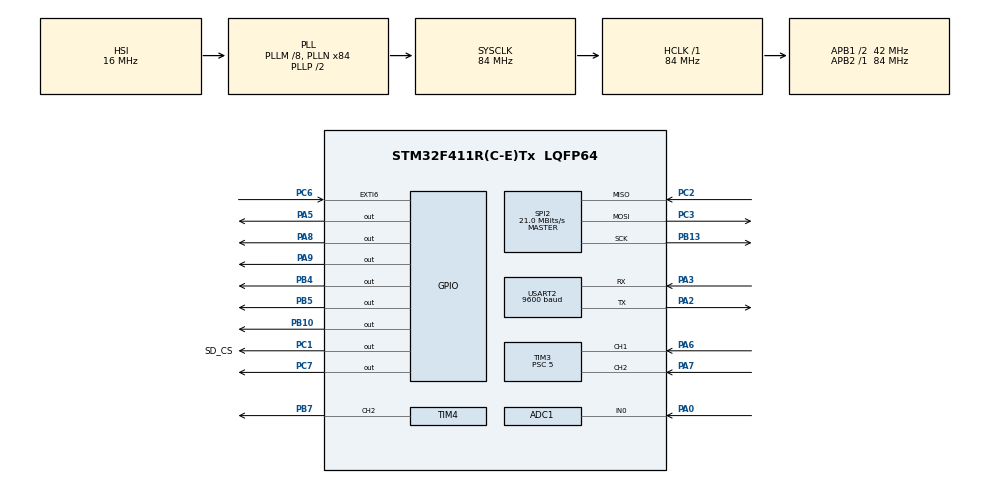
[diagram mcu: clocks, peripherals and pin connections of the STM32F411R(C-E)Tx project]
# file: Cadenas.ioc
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ADC1.Channel-1\#ChannelRegularConversion=ADC_CHANNEL_0
ADC1.ContinuousConvMode=DISABLE
ADC1.DMAContinuousRequests=ENABLE
ADC1.EOCSelection=ADC_EOC_SEQ_CONV
ADC1.ExternalTrigConv=ADC_EXTERNALTRIGCONV_T2_TRGO
ADC1.NbrOfConversion=1
ADC1.NbrOfConversionFlag=1
ADC1.Rank-1\#ChannelRegularConversion=1
ADC1.Resolution=ADC_RESOLUTION_10B
ADC1.SamplingTime-1\#ChannelRegularConversion=ADC_SAMPLETIME_28CYCLES
ADC1.ScanConvMode=ENABLE
ADC1.master=1
Dma.ADC1.0.Direction=DMA_PERIPH_TO_MEMORY
Dma.ADC1.0.FIFOMode=DMA_FIFOMODE_DISABLE
Dma.ADC1.0.Instance=DMA2_Stream0
Dma.ADC1.0.MemDataAlignment=DMA_MDATAALIGN_HALFWORD
Dma.ADC1.0.MemInc=DMA_MINC_ENABLE
Dma.ADC1.0.Mode=DMA_CIRCULAR
Dma.ADC1.0.PeriphDataAlignment=DMA_PDATAALIGN_HALFWORD
Dma.ADC1.0.PeriphInc=DMA_PINC_DISABLE
Dma.ADC1.0.Priority=DMA_PRIORITY_LOW
Dma.Request0=ADC1
Dma.Request1=USART2_RX
Dma.USART2_RX.1.Direction=DMA_PERIPH_TO_MEMORY
Dma.USART2_RX.1.FIFOMode=DMA_FIFOMODE_DISABLE
Dma.USART2_RX.1.Instance=DMA1_Stream5
Dma.USART2_RX.1.MemDataAlignment=DMA_MDATAALIGN_BYTE
Dma.USART2_RX.1.MemInc=DMA_MINC_ENABLE
Dma.USART2_RX.1.Mode=DMA_NORMAL
Dma.USART2_RX.1.PeriphDataAlignment=DMA_PDATAALIGN_BYTE
Dma.USART2_RX.1.PeriphInc=DMA_PINC_DISABLE
Dma.USART2_RX.1.Priority=DMA_PRIORITY_LOW
FATFS._MAX_LFN=15
FATFS._USE_LFN=1
Mcu.Family=STM32F4
Mcu.Name=STM32F411R(C-E)Tx
Mcu.Package=LQFP64
NVIC.DMA1_Stream5_IRQn=true\:0\:0\:false\:false\:true\:false\:true
NVIC.DMA2_Stream0_IRQn=true\:0\:0\:false\:false\:true\:false\:true
NVIC.EXTI9_5_IRQn=true\:0\:0\:false\:false\:true\:true\:true
NVIC.PriorityGroup=NVIC_PRIORITYGROUP_4
NVIC.USART2_IRQn=true\:0\:0\:false\:false\:true\:true\:true
PA0-WKUP.Signal=ADCx_IN0
PA13.Mode=Serial_Wire
PA13.Signal=SYS_JTMS-SWDIO
PA14.Mode=Serial_Wire
PA14.Signal=SYS_JTCK-SWCLK
PA2.Mode=Asynchronous
PA2.Signal=USART2_TX
PA3.Mode=Asynchronous
PA3.Signal=USART2_RX
PA5.Signal=GPIO_Output
PA6.Signal=S_TIM3_CH1
PA7.Signal=S_TIM3_CH2
PA8.Signal=GPIO_Output
PA9.Signal=GPIO_Output
PB10.Signal=GPIO_Output
PB13.Mode=Full_Duplex_Master
PB13.Signal=SPI2_SCK
PB4.Signal=GPIO_Output
PB5.Signal=GPIO_Output
PB7.Signal=S_TIM4_CH2
PC1.GPIO_Label=SD_CS
PC1.Signal=GPIO_Output
PC14-OSC32_IN.Mode=LSE-External-Oscillator
PC14-OSC32_IN.Signal=RCC_OSC32_IN
PC15-OSC32_OUT.Mode=LSE-External-Oscillator
PC15-OSC32_OUT.Signal=RCC_OSC32_OUT
PC2.Mode=Full_Duplex_Master
PC2.Signal=SPI2_MISO
PC3.Mode=Full_Duplex_Master
PC3.Signal=SPI2_MOSI
PC6.Signal=GPXTI6
PC7.Signal=GPIO_Output
PH0\ -\ OSC_IN.Mode=HSE-External-Oscillator
PH0\ -\ OSC_IN.Signal=RCC_OSC_IN
PH1\ -\ OSC_OUT.Mode=HSE-External-Oscillator
PH1\ -\ OSC_OUT.Signal=RCC_OSC_OUT
ProjectManager.HeapSize=0x200
ProjectManager.StackSize=0x400
ProjectManager.TargetToolchain=STM32CubeIDE
RCC.48MHZClocksFreq_Value=42000000
RCC.AHBFreq_Value=84000000
RCC.APB1CLKDivider=RCC_HCLK_DIV2
RCC.APB1Freq_Value=42000000
RCC.APB1TimFreq_Value=84000000
RCC.APB2Freq_Value=84000000
RCC.APB2TimFreq_Value=84000000
RCC.CortexFreq_Value=84000000
RCC.HCLKFreq_Value=84000000
RCC.HSE_VALUE=25000000
RCC.HSI_VALUE=16000000
RCC.PLLM=8
RCC.PLLN=84
RCC.SYSCLKFreq_VALUE=84000000
RCC.SYSCLKSource=RCC_SYSCLKSOURCE_PLLCLK
RCC.VCOOutputFreq_Value=168000000
RTC.Alarm=RTC_ALARM_A
SH.ADCx_IN0.0=ADC1_IN0,IN0
SH.S_TIM3_CH1.0=TIM3_CH1,Encoder_Interface
SH.S_TIM3_CH2.0=TIM3_CH2,Encoder_Interface
SH.S_TIM4_CH2.0=TIM4_CH2,PWM Generation2 CH2
SPI2.CalculateBaudRate=21.0 MBits/s
SPI2.Direction=SPI_DIRECTION_2LINES
SPI2.Mode=SPI_MODE_MASTER
SPI2.VirtualType=VM_MASTER
TIM2.Period=1000-1
TIM2.Prescaler=8400-1
TIM2.TIM_MasterOutputTrigger=TIM_TRGO_UPDATE
TIM2.TIM_MasterSlaveMode=TIM_MASTERSLAVEMODE_ENABLE
TIM3.AutoReloadPreload=TIM_AUTORELOAD_PRELOAD_ENABLE
TIM3.EncoderMode=TIM_ENCODERMODE_TI12
TIM3.IC1Filter=10
TIM3.Period=100-1
TIM3.Prescaler=5
TIM4.Channel-PWM\ Generation2\ CH2=TIM_CHANNEL_2
TIM4.Period=1000
TIM4.Prescaler=1680
USART2.BaudRate=9600
USART2.VirtualMode=VM_ASYNC
VP_FATFS_VS_Generic.Mode=User_defined
VP_RTC_VS_RTC_Activate.Mode=RTC_Enabled
VP_RTC_VS_RTC_Alarm_A_Intern.Mode=Alarm A
VP_RTC_VS_RTC_Calendar.Mode=RTC_Calendar
VP_TIM2_VS_ClockSourceINT.Mode=Internal
board=custom

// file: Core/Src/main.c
/* USER CODE BEGIN Header */
/**
  ******************************************************************************
  * @file           : main.c
  * @brief          : Main program body
  ******************************************************************************
  * @attention
  *
  * <h2><center>&copy; Copyright (c) 2021 STMicroelectronics.
  * All rights reserved.</center></h2>
  *
  * This software component is licensed by ST under BSD 3-Clause license,
  * the "License"; You may not use this file except in compliance with the
  * License. You may obtain a copy of the License at:
  *                        opensource.org/licenses/BSD-3-Clause
  *
  ******************************************************************************
  */
/* USER CODE END Header */
#include "main.h"
#include "fatfs.h"

/* USER CODE BEGIN Includes */

#include "stm32f4_hd44780.h"
#include <cadenas.h>
/* USER CODE END Includes */

ADC_HandleTypeDef hadc1;
DMA_HandleTypeDef hdma_adc1;

SPI_HandleTypeDef hspi2;

TIM_HandleTypeDef htim2;
TIM_HandleTypeDef htim3;
TIM_HandleTypeDef htim4;

UART_HandleTypeDef huart2;
DMA_HandleTypeDef hdma_usart2_rx;

void SystemClock_Config(void);
static void MX_GPIO_Init(void);
static void MX_ADC1_Init(void);
static void MX_DMA_Init(void);
static void MX_USART2_UART_Init(void);
static void MX_TIM2_Init(void);
static void MX_TIM3_Init(void);
static void MX_TIM4_Init(void);
static void MX_SPI2_Init(void);
static void MX_RTC_Init(void);

int main(void)
{

  /* MCU Configuration--------------------------------------------------------*/

  /* Reset of all peripherals, Initializes the Flash interface and the Systick. */
  HAL_Init();

  /* Configure the system clock */
  SystemClock_Config();

  /* Initialize all configured peripherals */
  MX_GPIO_Init();
  MX_DMA_Init();
  MX_ADC1_Init();

  MX_USART2_UART_Init();
  MX_TIM2_Init();
  MX_TIM3_Init();
  MX_TIM4_Init();
  MX_SPI2_Init();
  MX_FATFS_Init();
  MX_RTC_Init();
  /* USER CODE BEGIN 2 */

  /* Démarre les périphériques */
  HAL_TIM_Encoder_Start(&htim3, TIM_CHANNEL_ALL);
  HAL_ADC_Start_DMA(&hadc1, &adcVal, 1);
  HAL_TIM_Base_Start_IT(&htim2);
  HAL_TIM_PWM_Start(&htim4, TIM_CHANNEL_2);
  HAL_UARTEx_ReceiveToIdle_DMA(&huart2, Rxbuff, RXBUFF_SIZE);

  /* Initialise l'affichage du LCD */
  initLCD();
  strcpy(state,"ferme");

  /* Initialise une date et une heure dans la rtc */
  if(HAL_RTCEx_BKUPRead(&hrtc, RTC_BKP_DR1) != 0x32F2)
  {
   	set_time();
  }

  /* USER CODE END 2 */

  /* Infinite loop */
  /* USER CODE BEGIN WHILE */
  while (1)
  {
  	// Nouvelle combinaison reçu par uart
  	if(changeUart==1)
  	{
  		changeCombiUart(Rxbuff, combinaisonCorrect);
  		get_time();
  		write_log(date);
  		write_log(" ");
  		write_log(time);
  		write_log(" ");
  		write_log("Nouvelle combinaison part uart: ");
  		write_log(Rxbuff+4);
  		write_log("\n");
  		changeUart = 0;
  	}

  	// Nouvelle valeur de l'encodeur
	  encodeur = TIM3->CNT;

	  // Gestion des boutons poussoirs
	  if(adc_val_verif == adcVal)
	  {
	  	buttonManager();
	  	debounce = 0;
	  }

	  // Affichage des valeurs des digits
	  HD44780_Puts(cursorVal, 0, &numberBuffDisplay[cursorVal]);
	  HD44780_Puts(0, 1, state);

	  // Mise en évidence du digit selectionné
	  HD44780_CursorSet(cursorVal,0);

	  // Correction du problème d'alimentation en 5V
	  adc_val_verif = adcVal;

	  // Attente de 500ms
	  HAL_Delay(500);

    /* USER CODE END WHILE */

  }
}

void SystemClock_Config(void)
{
  RCC_OscInitTypeDef RCC_OscInitStruct = {0};
  RCC_ClkInitTypeDef RCC_ClkInitStruct = {0};

  /** Configure the main internal regulator output voltage
  */
  __HAL_RCC_PWR_CLK_ENABLE();
  __HAL_PWR_VOLTAGESCALING_CONFIG(PWR_REGULATOR_VOLTAGE_SCALE1);
  /** Initializes the RCC Oscillators according to the specified parameters
  * in the RCC_OscInitTypeDef structure.
  */
  RCC_OscInitStruct.OscillatorType = RCC_OSCILLATORTYPE_HSI|RCC_OSCILLATORTYPE_LSI;
  RCC_OscInitStruct.HSIState = RCC_HSI_ON;
  RCC_OscInitStruct.HSICalibrationValue = RCC_HSICALIBRATION_DEFAULT;
  RCC_OscInitStruct.LSIState = RCC_LSI_ON;
  RCC_OscInitStruct.PLL.PLLState = RCC_PLL_ON;
  RCC_OscInitStruct.PLL.PLLSource = RCC_PLLSOURCE_HSI;
  RCC_OscInitStruct.PLL.PLLM = 8;
  RCC_OscInitStruct.PLL.PLLN = 84;
  RCC_OscInitStruct.PLL.PLLP = RCC_PLLP_DIV2;
  RCC_OscInitStruct.PLL.PLLQ = 4;
  if (HAL_RCC_OscConfig(&RCC_OscInitStruct) != HAL_OK)
  {
    Error_Handler();
  }
  /** Initializes the CPU, AHB and APB buses clocks
  */
  RCC_ClkInitStruct.ClockType = RCC_CLOCKTYPE_HCLK|RCC_CLOCKTYPE_SYSCLK
                              |RCC_CLOCKTYPE_PCLK1|RCC_CLOCKTYPE_PCLK2;
  RCC_ClkInitStruct.SYSCLKSource = RCC_SYSCLKSOURCE_PLLCLK;
  RCC_ClkInitStruct.AHBCLKDivider = RCC_SYSCLK_DIV1;
  RCC_ClkInitStruct.APB1CLKDivider = RCC_HCLK_DIV2;
  RCC_ClkInitStruct.APB2CLKDivider = RCC_HCLK_DIV1;

  if (HAL_RCC_ClockConfig(&RCC_ClkInitStruct, FLASH_LATENCY_2) != HAL_OK)
  {
    Error_Handler();
  }
}

static void MX_ADC1_Init(void)
{

  ADC_ChannelConfTypeDef sConfig = {0};

  /** Configure the global features of the ADC (Clock, Resolution, Data Alignment and number of conversion)
  */
  hadc1.Instance = ADC1;
  hadc1.Init.ClockPrescaler = ADC_CLOCK_SYNC_PCLK_DIV4;
  hadc1.Init.Resolution = ADC_RESOLUTION_10B;
  hadc1.Init.ScanConvMode = ENABLE;
  hadc1.Init.ContinuousConvMode = DISABLE;
  hadc1.Init.DiscontinuousConvMode = DISABLE;
  hadc1.Init.ExternalTrigConvEdge = ADC_EXTERNALTRIGCONVEDGE_RISING;
  hadc1.Init.ExternalTrigConv = ADC_EXTERNALTRIGCONV_T2_TRGO;
  hadc1.Init.DataAlign = ADC_DATAALIGN_RIGHT;
  hadc1.Init.NbrOfConversion = 1;
  hadc1.Init.DMAContinuousRequests = ENABLE;
  hadc1.Init.EOCSelection = ADC_EOC_SEQ_CONV;
  if (HAL_ADC_Init(&hadc1) != HAL_OK)
  {
    Error_Handler();
  }
  /** Configure for the selected ADC regular channel its corresponding rank in the sequencer and its sample time.
  */
  sConfig.Channel = ADC_CHANNEL_0;
  sConfig.Rank = 1;
  sConfig.SamplingTime = ADC_SAMPLETIME_28CYCLES;
  if (HAL_ADC_ConfigChannel(&hadc1, &sConfig) != HAL_OK)
  {
    Error_Handler();
  }

}

static void MX_RTC_Init(void)
{

  RTC_TimeTypeDef sTime = {0};
  RTC_DateTypeDef sDate = {0};
  RTC_AlarmTypeDef sAlarm = {0};

  /** Initialize RTC Only
  */
  hrtc.Instance = RTC;
  hrtc.Init.HourFormat = RTC_HOURFORMAT_24;
  hrtc.Init.AsynchPrediv = 127;
  hrtc.Init.SynchPrediv = 255;
  hrtc.Init.OutPut = RTC_OUTPUT_DISABLE;
  hrtc.Init.OutPutPolarity = RTC_OUTPUT_POLARITY_HIGH;
  hrtc.Init.OutPutType = RTC_OUTPUT_TYPE_OPENDRAIN;
  if (HAL_RTC_Init(&hrtc) != HAL_OK)
  {
    Error_Handler();
  }

  /** Initialize RTC and set the Time and Date
  */
  sTime.Hours = 0x0;
  sTime.Minutes = 0x0;
  sTime.Seconds = 0x0;
  sTime.DayLightSaving = RTC_DAYLIGHTSAVING_NONE;
  sTime.StoreOperation = RTC_STOREOPERATION_RESET;
  if (HAL_RTC_SetTime(&hrtc, &sTime, RTC_FORMAT_BCD) != HAL_OK)
  {
    Error_Handler();
  }
  sDate.WeekDay = RTC_WEEKDAY_MONDAY;
  sDate.Month = RTC_MONTH_JANUARY;
  sDate.Date = 0x1;
  sDate.Year = 0x0;

  if (HAL_RTC_SetDate(&hrtc, &sDate, RTC_FORMAT_BCD) != HAL_OK)
  {
    Error_Handler();
  }
  /** Enable the Alarm A
  */
  sAlarm.AlarmTime.Hours = 0x0;
  sAlarm.AlarmTime.Minutes = 0x0;
  sAlarm.AlarmTime.Seconds = 0x0;
  sAlarm.AlarmTime.SubSeconds = 0x0;
  sAlarm.AlarmTime.DayLightSaving = RTC_DAYLIGHTSAVING_NONE;
  sAlarm.AlarmTime.StoreOperation = RTC_STOREOPERATION_RESET;
  sAlarm.AlarmMask = RTC_ALARMMASK_NONE;
  sAlarm.AlarmSubSecondMask = RTC_ALARMSUBSECONDMASK_ALL;
  sAlarm.AlarmDateWeekDaySel = RTC_ALARMDATEWEEKDAYSEL_DATE;
  sAlarm.AlarmDateWeekDay = 0x1;
  sAlarm.Alarm = RTC_ALARM_A;
  if (HAL_RTC_SetAlarm(&hrtc, &sAlarm, RTC_FORMAT_BCD) != HAL_OK)
  {
    Error_Handler();
  }

}

static void MX_SPI2_Init(void)
{

  /* SPI2 parameter configuration*/
  hspi2.Instance = SPI2;
  hspi2.Init.Mode = SPI_MODE_MASTER;
  hspi2.Init.Direction = SPI_DIRECTION_2LINES;
  hspi2.Init.DataSize = SPI_DATASIZE_8BIT;
  hspi2.Init.CLKPolarity = SPI_POLARITY_LOW;
  hspi2.Init.CLKPhase = SPI_PHASE_1EDGE;
  hspi2.Init.NSS = SPI_NSS_SOFT;
  hspi2.Init.BaudRatePrescaler = SPI_BAUDRATEPRESCALER_2;
  hspi2.Init.FirstBit = SPI_FIRSTBIT_MSB;
  hspi2.Init.TIMode = SPI_TIMODE_DISABLE;
  hspi2.Init.CRCCalculation = SPI_CRCCALCULATION_DISABLE;
  hspi2.Init.CRCPolynomial = 10;
  if (HAL_SPI_Init(&hspi2) != HAL_OK)
  {
    Error_Handler();
  }

}

static void MX_TIM2_Init(void)
{

  TIM_ClockConfigTypeDef sClockSourceConfig = {0};
  TIM_MasterConfigTypeDef sMasterConfig = {0};

  htim2.Instance = TIM2;
  htim2.Init.Prescaler = 8400-1;
  htim2.Init.CounterMode = TIM_COUNTERMODE_UP;
  htim2.Init.Period = 1000-1;
  htim2.Init.ClockDivision = TIM_CLOCKDIVISION_DIV1;
  htim2.Init.AutoReloadPreload = TIM_AUTORELOAD_PRELOAD_DISABLE;
  if (HAL_TIM_Base_Init(&htim2) != HAL_OK)
  {
    Error_Handler();
  }
  sClockSourceConfig.ClockSource = TIM_CLOCKSOURCE_INTERNAL;
  if (HAL_TIM_ConfigClockSource(&htim2, &sClockSourceConfig) != HAL_OK)
  {
    Error_Handler();
  }
  sMasterConfig.MasterOutputTrigger = TIM_TRGO_UPDATE;
  sMasterConfig.MasterSlaveMode = TIM_MASTERSLAVEMODE_ENABLE;
  if (HAL_TIMEx_MasterConfigSynchronization(&htim2, &sMasterConfig) != HAL_OK)
  {
    Error_Handler();
  }

}

static void MX_TIM3_Init(void)
{

  TIM_Encoder_InitTypeDef sConfig = {0};
  TIM_MasterConfigTypeDef sMasterConfig = {0};

  htim3.Instance = TIM3;
  htim3.Init.Prescaler = 5;
  htim3.Init.CounterMode = TIM_COUNTERMODE_UP;
  htim3.Init.Period = 100-1;
  htim3.Init.ClockDivision = TIM_CLOCKDIVISION_DIV1;
  htim3.Init.AutoReloadPreload = TIM_AUTORELOAD_PRELOAD_ENABLE;
  sConfig.EncoderMode = TIM_ENCODERMODE_TI12;
  sConfig.IC1Polarity = TIM_ICPOLARITY_RISING;
  sConfig.IC1Selection = TIM_ICSELECTION_DIRECTTI;
  sConfig.IC1Prescaler = TIM_ICPSC_DIV1;
  sConfig.IC1Filter = 10;
  sConfig.IC2Polarity = TIM_ICPOLARITY_RISING;
  sConfig.IC2Selection = TIM_ICSELECTION_DIRECTTI;
  sConfig.IC2Prescaler = TIM_ICPSC_DIV1;
  sConfig.IC2Filter = 0;
  if (HAL_TIM_Encoder_Init(&htim3, &sConfig) != HAL_OK)
  {
    Error_Handler();
  }
  sMasterConfig.MasterOutputTrigger = TIM_TRGO_RESET;
  sMasterConfig.MasterSlaveMode = TIM_MASTERSLAVEMODE_DISABLE;
  if (HAL_TIMEx_MasterConfigSynchronization(&htim3, &sMasterConfig) != HAL_OK)
  {
    Error_Handler();
  }

}

static void MX_TIM4_Init(void)
{

  TIM_MasterConfigTypeDef sMasterConfig = {0};
  TIM_OC_InitTypeDef sConfigOC = {0};

  htim4.Instance = TIM4;
  htim4.Init.Prescaler = 1680;
  htim4.Init.CounterMode = TIM_COUNTERMODE_UP;
  htim4.Init.Period = 1000;
  htim4.Init.ClockDivision = TIM_CLOCKDIVISION_DIV1;
  htim4.Init.AutoReloadPreload = TIM_AUTORELOAD_PRELOAD_DISABLE;
  if (HAL_TIM_PWM_Init(&htim4) != HAL_OK)
  {
    Error_Handler();
  }
  sMasterConfig.MasterOutputTrigger = TIM_TRGO_RESET;
  sMasterConfig.MasterSlaveMode = TIM_MASTERSLAVEMODE_DISABLE;
  if (HAL_TIMEx_MasterConfigSynchronization(&htim4, &sMasterConfig) != HAL_OK)
  {
    Error_Handler();
  }
  sConfigOC.OCMode = TIM_OCMODE_PWM1;
  sConfigOC.Pulse = 0;
  sConfigOC.OCPolarity = TIM_OCPOLARITY_HIGH;
  sConfigOC.OCFastMode = TIM_OCFAST_DISABLE;
  if (HAL_TIM_PWM_ConfigChannel(&htim4, &sConfigOC, TIM_CHANNEL_2) != HAL_OK)
  {
    Error_Handler();
  }
  HAL_TIM_MspPostInit(&htim4);

}

static void MX_USART2_UART_Init(void)
{

  huart2.Instance = USART2;
  huart2.Init.BaudRate = 9600;
  huart2.Init.WordLength = UART_WORDLENGTH_8B;
  huart2.Init.StopBits = UART_STOPBITS_1;
  huart2.Init.Parity = UART_PARITY_NONE;
  huart2.Init.Mode = UART_MODE_TX_RX;
  huart2.Init.HwFlowCtl = UART_HWCONTROL_NONE;
  huart2.Init.OverSampling = UART_OVERSAMPLING_16;
  if (HAL_UART_Init(&huart2) != HAL_OK)
  {
    Error_Handler();
  }

}

static void MX_DMA_Init(void)
{

  /* DMA controller clock enable */
  __HAL_RCC_DMA2_CLK_ENABLE();
  __HAL_RCC_DMA1_CLK_ENABLE();

  /* DMA interrupt init */
  /* DMA1_Stream5_IRQn interrupt configuration */
  HAL_NVIC_SetPriority(DMA1_Stream5_IRQn, 0, 0);
  HAL_NVIC_EnableIRQ(DMA1_Stream5_IRQn);
  /* DMA2_Stream0_IRQn interrupt configuration */
  HAL_NVIC_SetPriority(DMA2_Stream0_IRQn, 0, 0);
  HAL_NVIC_EnableIRQ(DMA2_Stream0_IRQn);

}

static void MX_GPIO_Init(void)
{
  GPIO_InitTypeDef GPIO_InitStruct = {0};

  /* GPIO Ports Clock Enable */
  __HAL_RCC_GPIOC_CLK_ENABLE();
  __HAL_RCC_GPIOH_CLK_ENABLE();
  __HAL_RCC_GPIOA_CLK_ENABLE();
  __HAL_RCC_GPIOB_CLK_ENABLE();

  /*Configure GPIO pin Output Level */
  HAL_GPIO_WritePin(GPIOC, SD_CS_Pin|GPIO_PIN_7, GPIO_PIN_RESET);

  /*Configure GPIO pin Output Level */
  HAL_GPIO_WritePin(GPIOA, GPIO_PIN_5|GPIO_PIN_8|GPIO_PIN_9, GPIO_PIN_RESET);

  /*Configure GPIO pin Output Level */
  HAL_GPIO_WritePin(GPIOB, GPIO_PIN_10|GPIO_PIN_4|GPIO_PIN_5, GPIO_PIN_RESET);

  /*Configure GPIO pins : SD_CS_Pin PC7 */
  GPIO_InitStruct.Pin = SD_CS_Pin|GPIO_PIN_7;
  GPIO_InitStruct.Mode = GPIO_MODE_OUTPUT_PP;
  GPIO_InitStruct.Pull = GPIO_NOPULL;
  GPIO_InitStruct.Speed = GPIO_SPEED_FREQ_LOW;
  HAL_GPIO_Init(GPIOC, &GPIO_InitStruct);

  /*Configure GPIO pins : PA5 PA8 PA9 */
  GPIO_InitStruct.Pin = GPIO_PIN_5|GPIO_PIN_8|GPIO_PIN_9;
  GPIO_InitStruct.Mode = GPIO_MODE_OUTPUT_PP;
  GPIO_InitStruct.Pull = GPIO_NOPULL;
  GPIO_InitStruct.Speed = GPIO_SPEED_FREQ_LOW;
  HAL_GPIO_Init(GPIOA, &GPIO_InitStruct);

  /*Configure GPIO pins : PB10 PB4 PB5 */
  GPIO_InitStruct.Pin = GPIO_PIN_10|GPIO_PIN_4|GPIO_PIN_5;
  GPIO_InitStruct.Mode = GPIO_MODE_OUTPUT_PP;
  GPIO_InitStruct.Pull = GPIO_NOPULL;
  GPIO_InitStruct.Speed = GPIO_SPEED_FREQ_LOW;
  HAL_GPIO_Init(GPIOB, &GPIO_InitStruct);

  /*Configure GPIO pin : PC6 */
  GPIO_InitStruct.Pin = GPIO_PIN_6;
  GPIO_InitStruct.Mode = GPIO_MODE_IT_RISING;
  GPIO_InitStruct.Pull = GPIO_NOPULL;
  HAL_GPIO_Init(GPIOC, &GPIO_InitStruct);

  /* EXTI interrupt init*/
  HAL_NVIC_SetPriority(EXTI9_5_IRQn, 0, 0);
  HAL_NVIC_EnableIRQ(EXTI9_5_IRQn);

}

/* USER CODE BEGIN 4 */

/* Interrupt */
void HAL_RTC_AlarmAEventCallback(RTC_HandleTypeDef *hrtc)
{
	alarm = 1;
}

void HAL_ADC_ConvCpltCallback(ADC_HandleTypeDef *hadc)
{
	HAL_GPIO_TogglePin(GPIOA, GPIO_PIN_5);
}

void HAL_UARTEx_RxEventCallback(UART_HandleTypeDef *huart, uint16_t Size)
{
	// Relancement du périphérique
	if(huart->Instance == USART2)
	{
		HAL_UARTEx_ReceiveToIdle_DMA(&huart2, Rxbuff, RXBUFF_SIZE);
	}

	// Si les 4 premiers digits sont égaux à la combinaison pour ouvrir le cadenas
	if(verifCombiUart(Rxbuff,numberDisplay)){
		changeUart = 1;
	}
}

void HAL_GPIO_EXTI_Callback (uint16_t GPIO_Pin)
{
	if(debounce == 0)
	{
		// Décale vers la droite le digit selectionné
		if(cursorVal<3)
		{
			cursorVal++;
			debounce++;
		}

		// Teste la combinaison
		else if(cursorVal == 3)
		{
			copy(numberDisplay,combinaisonCorrect);
			selectManager();
		}
	}
	debounce = 0;
}

/* USER CODE END 4 */

void Error_Handler(void)
{
  __disable_irq();
  while (1)
  {
  }
}

/************************ (C) COPYRIGHT STMicroelectronics *****END OF FILE****/
